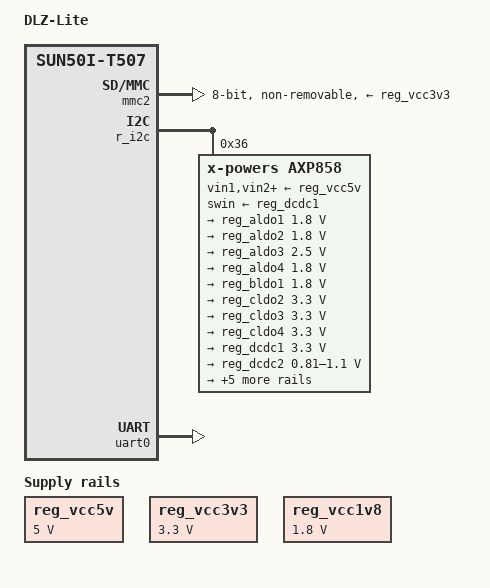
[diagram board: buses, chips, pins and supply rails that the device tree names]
// SPDX-License-Identifier: (GPL-2.0+ OR MIT)
/*
 * Copyright (C) 2024 Jernej Skrabec <jernej.skrabec@gmail.com>
 */

/dts-v1/;

#include "sun50i-h616.dtsi"

#include <dt-bindings/gpio/gpio.h>
#include <dt-bindings/interrupt-controller/arm-gic.h>
#include <dt-bindings/leds/common.h>

/ {
	model = "DLZ-Lite";
	compatible = "unknown,dlz-lite", "allwinner,sun50i-t507";

	aliases {
		serial0 = &uart0;
	};

	chosen {
		stdout-path = "serial0:115200n8";
	};

	reg_vcc5v: vcc5v {
		compatible = "regulator-fixed";
		regulator-name = "vcc-5v";
		regulator-min-microvolt = <5000000>;
		regulator-max-microvolt = <5000000>;
		regulator-always-on;
	};

	reg_vcc3v3: vcc3v3 {
		compatible = "regulator-fixed";
		regulator-name = "vcc-3v3";
		regulator-min-microvolt = <3300000>;
		regulator-max-microvolt = <3300000>;
		regulator-always-on;
	};

	reg_vcc1v8: vcc1v8 {
		compatible = "regulator-fixed";
		regulator-name = "vcc-1v8";
		regulator-min-microvolt = <1800000>;
		regulator-max-microvolt = <1800000>;
		regulator-always-on;
	};
};

&cpu0 {
	cpu-supply = <&reg_dcdc2>;
};

&mmc2 {
	vmmc-supply = <&reg_vcc3v3>;
	vqmmc-supply = <&reg_vcc1v8>;
	bus-width = <8>;
	non-removable;
	//cap-mmc-hw-reset;
	//mmc-hs200-1_8v;
	status = "okay";
};

&r_i2c {
	status = "okay";

	axp858: pmic@36 {
		compatible = "x-powers,axp858",
			     "x-powers,axp15060";
		reg = <0x36>;
		#interrupt-cells = <1>;
		interrupt-controller;
		/*interrupt-parent = <&r_intc>;
		interrupts = <0 IRQ_TYPE_LEVEL_LOW>;*/

		vin1-supply = <&reg_vcc5v>;
		vin2-supply = <&reg_vcc5v>;
		vin3-supply = <&reg_vcc5v>;
		vin4-supply = <&reg_vcc5v>;
		vin5-supply = <&reg_vcc5v>;
		vin6-supply = <&reg_vcc5v>;
		aldoin-supply = <&reg_vcc5v>;
		bldoin-supply = <&reg_vcc5v>;
		cldoin-supply = <&reg_vcc5v>;
		ips-supply = <&reg_vcc5v>;
		swin-supply = <&reg_dcdc1>;

		regulators {
			reg_aldo1: aldo1 {
				regulator-always-on;
				regulator-min-microvolt = <1800000>;
				regulator-max-microvolt = <1800000>;
				regulator-name = "vcc1v8-emmc";
			};

			reg_aldo2: aldo2 {
				regulator-always-on;
				regulator-min-microvolt = <1800000>;
				regulator-max-microvolt = <1800000>;
				regulator-name = "vcc1v8-sd";
			};

			reg_aldo3: aldo3 {
				regulator-always-on;
				regulator-min-microvolt = <2500000>;
				regulator-max-microvolt = <2500000>;
				regulator-name = "vcc2v5-dram";
			};

			reg_aldo4: aldo4 {
				/* possibly VCC-PLL */
				regulator-always-on;
				regulator-min-microvolt = <1800000>;
				regulator-max-microvolt = <1800000>;
				regulator-name = "vcc1v8";
			};

			aldo5 {
				/* unused */
			};

			reg_bldo1: bldo1 {
				regulator-always-on;
				regulator-min-microvolt = <1800000>;
				regulator-max-microvolt = <1800000>;
				regulator-name = "vcc1v8-hdmi-tv";
			};

			bldo2 {
				/* unused */
			};

			bldo3 {
				/* unused */
			};

			bldo4 {
				/* unused */
			};

			bldo5 {
				/* unused */
			};

			cldo1 {
				/* unused */
			};

			reg_cldo2: cldo2 {
				regulator-always-on;
				regulator-min-microvolt = <3300000>;
				regulator-max-microvolt = <3300000>;
				regulator-name = "vcc3v3";
			};

			reg_cldo3: cldo3 {
				regulator-min-microvolt = <3300000>;
				regulator-max-microvolt = <3300000>;
				regulator-name = "vcc3v3-gmac";
			};

			reg_cldo4: cldo4 {
				regulator-min-microvolt = <3300000>;
				regulator-max-microvolt = <3300000>;
				regulator-name = "vcc3v3-avdd";
			};

			cpusldo {
				/* unused */
			};

			reg_dcdc1: dcdc1 {
				regulator-always-on;
				regulator-min-microvolt = <3300000>;
				regulator-max-microvolt = <3300000>;
				regulator-name = "vcc3v3-sd-emmc";
			};

			reg_dcdc2: dcdc2 {
				regulator-always-on;
				regulator-min-microvolt = <810000>;
				regulator-max-microvolt = <1100000>;
				regulator-name = "vdd-cpu";
			};

			reg_dcdc3: dcdc3 {
				regulator-always-on;
				regulator-min-microvolt = <940000>;
				regulator-max-microvolt = <940000>;
				regulator-name = "vdd-sys";
			};

			reg_dcdc4: dcdc4 {
				regulator-min-microvolt = <810000>;
				regulator-max-microvolt = <990000>;
				regulator-name = "vdd-gpu";
			};

			reg_dcdc5: dcdc5 {
				regulator-always-on;
				regulator-min-microvolt = <1200000>;
				regulator-max-microvolt = <1200000>;
				regulator-name = "vdd-dram";
			};

			dcdc6 {
				/* unused */
			};

			rtc-ldo {
				/* RTC_LDO is a fixed, always-on regulator */
				regulator-always-on;
				regulator-min-microvolt = <1800000>;
				regulator-max-microvolt = <1800000>;
				regulator-name = "rtc-ldo";
			};

			reg_sw: sw {
				regulator-name = "vcc-lcd";
			};
		};
	};
};

&uart0 {
	pinctrl-names = "default";
	pinctrl-0 = <&uart0_ph_pins>;
	status = "okay";
};
